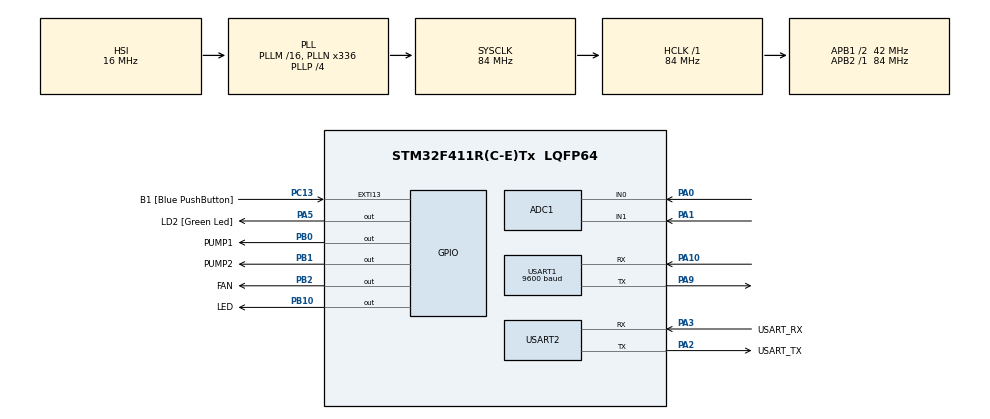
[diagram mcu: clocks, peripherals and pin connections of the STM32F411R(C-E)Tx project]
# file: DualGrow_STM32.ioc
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ADC1.Channel-0\#ChannelRegularConversion=ADC_CHANNEL_0
ADC1.NbrOfConversionFlag=1
ADC1.Rank-0\#ChannelRegularConversion=1
ADC1.SamplingTime-0\#ChannelRegularConversion=ADC_SAMPLETIME_84CYCLES
ADC1.master=1
Mcu.Family=STM32F4
Mcu.Name=STM32F411R(C-E)Tx
Mcu.Package=LQFP64
NVIC.PriorityGroup=NVIC_PRIORITYGROUP_0
NVIC.USART1_IRQn=true\:0\:0\:false\:false\:true\:true\:true\:true
PA0-WKUP.Signal=ADCx_IN0
PA1.Signal=ADCx_IN1
PA10.Mode=Asynchronous
PA10.Signal=USART1_RX
PA13.GPIO_Label=TMS
PA13.Mode=Serial_Wire
PA13.Signal=SYS_JTMS-SWDIO
PA14.GPIO_Label=TCK
PA14.Mode=Serial_Wire
PA14.Signal=SYS_JTCK-SWCLK
PA2.GPIO_Label=USART_TX
PA2.Mode=Asynchronous
PA2.Signal=USART2_TX
PA3.GPIO_Label=USART_RX
PA3.Mode=Asynchronous
PA3.Signal=USART2_RX
PA5.GPIO_Label=LD2 [Green Led]
PA5.Signal=GPIO_Output
PA9.Mode=Asynchronous
PA9.Signal=USART1_TX
PB0.GPIO_Label=PUMP1
PB0.PinState=GPIO_PIN_SET
PB0.Signal=GPIO_Output
PB1.GPIO_Label=PUMP2
PB1.GPIO_ModeDefaultOutputPP=GPIO_MODE_OUTPUT_PP
PB1.GPIO_PuPd=GPIO_NOPULL
PB1.PinState=GPIO_PIN_SET
PB1.Signal=GPIO_Output
PB10.GPIO_Label=LED
PB10.Signal=GPIO_Output
PB2.GPIO_Label=FAN
PB2.PinState=GPIO_PIN_SET
PB2.Signal=GPIO_Output
PB3.GPIO_Label=SWO
PB3.Signal=SYS_JTDO-SWO
PC13-ANTI_TAMP.GPIO_Label=B1 [Blue PushButton]
PC13-ANTI_TAMP.GPIO_ModeDefaultEXTI=GPIO_MODE_IT_FALLING
PC13-ANTI_TAMP.Signal=GPXTI13
PC14-OSC32_IN.Mode=LSE-External-Oscillator
PC14-OSC32_IN.Signal=RCC_OSC32_IN
PC15-OSC32_OUT.Mode=LSE-External-Oscillator
PC15-OSC32_OUT.Signal=RCC_OSC32_OUT
PH0\ -\ OSC_IN.Mode=HSE-External-Clock-Source
PH0\ -\ OSC_IN.Signal=RCC_OSC_IN
PH1\ -\ OSC_OUT.Mode=HSE-External-Clock-Source
PH1\ -\ OSC_OUT.Signal=RCC_OSC_OUT
ProjectManager.HeapSize=0x200
ProjectManager.StackSize=0x400
ProjectManager.TargetToolchain=STM32CubeIDE
RCC.48MHZClocksFreq_Value=84000000
RCC.AHBFreq_Value=84000000
RCC.APB1CLKDivider=RCC_HCLK_DIV2
RCC.APB1Freq_Value=42000000
RCC.APB1TimFreq_Value=84000000
RCC.APB2Freq_Value=84000000
RCC.APB2TimFreq_Value=84000000
RCC.CortexFreq_Value=84000000
RCC.FLatency-AdvancedSettings=FLASH_LATENCY_2
RCC.HCLKFreq_Value=84000000
RCC.HSE_VALUE=8000000
RCC.HSI_VALUE=16000000
RCC.PLLN=336
RCC.PLLP=RCC_PLLP_DIV4
RCC.SYSCLKFreq_VALUE=84000000
RCC.SYSCLKSource=RCC_SYSCLKSOURCE_PLLCLK
RCC.VCOOutputFreq_Value=336000000
SH.ADCx_IN0.0=ADC1_IN0,IN0
SH.ADCx_IN1.0=ADC1_IN1,IN1
USART1.BaudRate=9600
USART1.VirtualMode=VM_ASYNC
USART2.VirtualMode=VM_ASYNC
board=NUCLEO-F411RE

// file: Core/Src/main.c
/* USER CODE BEGIN Header */
/**
  ******************************************************************************
  * @file           : main.c
  * @brief          : Main program body
  ******************************************************************************
  * @attention
  *
  * Copyright (c) 2026 STMicroelectronics.
  * All rights reserved.
  *
  * This software is licensed under terms that can be found in the LICENSE file
  * in the root directory of this software component.
  * If no LICENSE file comes with this software, it is provided AS-IS.
  *
  ******************************************************************************
  */
/* USER CODE END Header */
#include "main.h"

/* USER CODE BEGIN Includes */
#include <stdio.h>
#include "pump1.h"
#include "pump2.h"
#include "fan.h"
#include "led.h"
#include "soil.h"
#include "waterlevel.h"
/* USER CODE END Includes */

ADC_HandleTypeDef hadc1;

UART_HandleTypeDef huart1;
UART_HandleTypeDef huart2;

/* USER CODE BEGIN PV */
uint8_t rx_byte = 0U;  //받을 글자 1개를 담는 곳
volatile uint8_t rx_flag = 0U;  //새 글자가 왔다는 표시
/* USER CODE END PV */

void SystemClock_Config(void);
static void MX_GPIO_Init(void);
static void MX_USART2_UART_Init(void);
static void MX_ADC1_Init(void);
static void MX_USART1_UART_Init(void);

/* USER CODE BEGIN 0 */
int _write(int file, char *str, int len)
{
	(void)file;
	HAL_UART_Transmit(&huart2, (uint8_t *)str, (uint16_t)len, HAL_MAX_DELAY);
	return len;
}
/* USER CODE END 0 */

int main(void)
{

  /* MCU Configuration--------------------------------------------------------*/

  /* Reset of all peripherals, Initializes the Flash interface and the Systick. */
  HAL_Init();

  /* Configure the system clock */
  SystemClock_Config();

  /* Initialize all configured peripherals */
  MX_GPIO_Init();
  MX_USART2_UART_Init();
  MX_ADC1_Init();
  MX_USART1_UART_Init();
  /* USER CODE BEGIN 2 */
  uint8_t step = 0U;
  uint32_t last_step_tick = HAL_GetTick();
  uint32_t last_print_tick = HAL_GetTick();
//  uint32_t last_tick = HAL_GetTick();

  pump1_off();
  pump2_off();
  fan_off();
  led_off();
  printf("DualGrow start\r\n");
  HAL_UART_Transmit_IT(&huart1, &rx_byte, 1U);  //첫 글자 받을 준비

  /* USER CODE END 2 */

  /* Infinite loop */
  while (1)
  {

    /* USER CODE BEGIN 3 */
//	  //pump test code
//	  if(HAL_GetTick() - last_tick >= 1000) {
//		  last_tick = HAL_GetTick();
//
//		  if(step == 0) {
//			  pump1_on();
//		  }
//		  else if(step == 1) {
//			  pump1_off();
//		  }
//		  else if(step == 2) {
//			   pump2_on();
//		  }
//		  else if(step == 3) {
//			  pump2_off();
//		  }
//
//		  step++;
//		  if(step >= 4) {
//			  step = 0;
//		  }
//	  }
//	  //fan test code
//	  if(HAL_GetTick() - last_tick >= 3000) {
//		  last_tick = HAL_GetTick();
//
//		  if(step == 0) {
//			  fan_on();
//		  }
//		  else if(step == 1) {
//			  fan_off();
//		  }
//
//		  step++;
//
//		  if(step >= 2) {
//			  step = 0;
//		  }
//	  }

//	  //led test
//	  if(HAL_GetTick() - last_tick >= 3000) {
//		  last_tick = HAL_GetTick();
//
//		  if(step == 0) {
//			  led_on();
//		  }
//		  else if (step == 1) {
//			  led_off();
//		  }
//		  step++;
//
//		  if(step > 2) {
//			  step = 0;
//		  }
//	  }

//	  //UART test
//	  if(HAL_GetTick() - last_tick >= 3000) {
//		  last_tick = HAL_GetTick();
//
//		  if(step == 0) {
//			  led_on();
//			  printf("led on\r\n");
//		  }
//		  else if (step == 1) {
//			  led_off();
//			  printf("led off\r\n");
//		  }
//		  step++;
//
//		  if(step >= 2) {
//			  step = 0;
//		  }
//	  }

//	  //soil test
//	  if(HAL_GetTick() - last_tick >= 1000) {
//		  last_tick = HAL_GetTick();
//
//		  printf("soil raw = %u\r\n", soil_read_raw());
//	  }

//	  //waterlevel test
//	  if(HAL_GetTick() - last_tick >= 1000) {
//		  last_tick = HAL_GetTick();
//
//		  printf("soil = %u, water = %u\r\n", soil_read_raw(), waterlevel_read_raw());
//	  }

//	  //complex test
//	  uint32_t now = HAL_GetTick();
//
//	  if((now - last_step_tick) >= 2000U) {
//		  last_step_tick = now;
//
//		  switch(step) {
//		  case 0U: pump1_on(); printf("pump1 ON\r\n"); break;
//		  case 1U: pump1_off(); printf("pump1 OFF\r\n"); break;
//		  case 2U: pump2_on(); printf("pump2 ON\r\n"); break;
//		  case 3U: pump2_off(); printf("pump2 OFF\r\n"); break;
//		  case 4U: fan_on(); printf("fan ON\r\n"); break;
//		  case 5U: fan_off(); printf("fan OFF\r\n"); break;
//		  case 6U: led_on(); printf("led ON\r\n"); break;
//		  case 7U: led_off(); printf("led OFF\r\n"); break;
//		  default: break;
//		  }
//
//		  step++;
//		  if(step >= 8U) {
//			  step = 0U;
//		  }
//	  }
//
//	  if((now - last_print_tick) >= 1000U) {
//		  last_print_tick = now;
//		  printf("soil = %u, water = %u\r\n", soil_read_raw(), waterlevel_read_raw());
//	  }

//	  //stm32 -> rpi uart test
//	  static uint32_t last_uart_tick = 0U;
//	  uint32_t now = HAL_GetTick();
//
//	  if((now - last_uart_tick) >= 1000U) {
//		  last_uart_tick = now;
//		  const uint8_t msg[] = "hello from STM32\r\n";
//		  HAL_UART_Transmit(&huart1, msg, (uint16_t)(sizeof(msg) - 1U), 100U);
//	  }

	  //rpi -> stm32 test
	  if(rx_flag != 0U) {
		  rx_flag = 0U;
		  printf("%rx : %c (ox%02x)\r\n", rx_byte, rx_byte);

		  if(rx_byte == (uint8_t)'1') {
			  led_on();
		  }
		  else if (rx_byte == (uint8_t) '0') {
			  led_off();
		  }
		  else {
			  //그외에는 무시
		  }
	  }
  }
  /* USER CODE END 3 */
}

void SystemClock_Config(void)
{
  RCC_OscInitTypeDef RCC_OscInitStruct = {0};
  RCC_ClkInitTypeDef RCC_ClkInitStruct = {0};

  /** Configure the main internal regulator output voltage
  */
  __HAL_RCC_PWR_CLK_ENABLE();
  __HAL_PWR_VOLTAGESCALING_CONFIG(PWR_REGULATOR_VOLTAGE_SCALE1);

  /** Initializes the RCC Oscillators according to the specified parameters
  * in the RCC_OscInitTypeDef structure.
  */
  RCC_OscInitStruct.OscillatorType = RCC_OSCILLATORTYPE_HSI;
  RCC_OscInitStruct.HSIState = RCC_HSI_ON;
  RCC_OscInitStruct.HSICalibrationValue = RCC_HSICALIBRATION_DEFAULT;
  RCC_OscInitStruct.PLL.PLLState = RCC_PLL_ON;
  RCC_OscInitStruct.PLL.PLLSource = RCC_PLLSOURCE_HSI;
  RCC_OscInitStruct.PLL.PLLM = 16;
  RCC_OscInitStruct.PLL.PLLN = 336;
  RCC_OscInitStruct.PLL.PLLP = RCC_PLLP_DIV4;
  RCC_OscInitStruct.PLL.PLLQ = 4;
  if (HAL_RCC_OscConfig(&RCC_OscInitStruct) != HAL_OK)
  {
    Error_Handler();
  }

  /** Initializes the CPU, AHB and APB buses clocks
  */
  RCC_ClkInitStruct.ClockType = RCC_CLOCKTYPE_HCLK|RCC_CLOCKTYPE_SYSCLK
                              |RCC_CLOCKTYPE_PCLK1|RCC_CLOCKTYPE_PCLK2;
  RCC_ClkInitStruct.SYSCLKSource = RCC_SYSCLKSOURCE_PLLCLK;
  RCC_ClkInitStruct.AHBCLKDivider = RCC_SYSCLK_DIV1;
  RCC_ClkInitStruct.APB1CLKDivider = RCC_HCLK_DIV2;
  RCC_ClkInitStruct.APB2CLKDivider = RCC_HCLK_DIV1;

  if (HAL_RCC_ClockConfig(&RCC_ClkInitStruct, FLASH_LATENCY_2) != HAL_OK)
  {
    Error_Handler();
  }
}

static void MX_ADC1_Init(void)
{

  ADC_ChannelConfTypeDef sConfig = {0};

  /** Configure the global features of the ADC (Clock, Resolution, Data Alignment and number of conversion)
  */
  hadc1.Instance = ADC1;
  hadc1.Init.ClockPrescaler = ADC_CLOCK_SYNC_PCLK_DIV4;
  hadc1.Init.Resolution = ADC_RESOLUTION_12B;
  hadc1.Init.ScanConvMode = DISABLE;
  hadc1.Init.ContinuousConvMode = DISABLE;
  hadc1.Init.DiscontinuousConvMode = DISABLE;
  hadc1.Init.ExternalTrigConvEdge = ADC_EXTERNALTRIGCONVEDGE_NONE;
  hadc1.Init.ExternalTrigConv = ADC_SOFTWARE_START;
  hadc1.Init.DataAlign = ADC_DATAALIGN_RIGHT;
  hadc1.Init.NbrOfConversion = 1;
  hadc1.Init.DMAContinuousRequests = DISABLE;
  hadc1.Init.EOCSelection = ADC_EOC_SINGLE_CONV;
  if (HAL_ADC_Init(&hadc1) != HAL_OK)
  {
    Error_Handler();
  }

  /** Configure for the selected ADC regular channel its corresponding rank in the sequencer and its sample time.
  */
  sConfig.Channel = ADC_CHANNEL_0;
  sConfig.Rank = 1;
  sConfig.SamplingTime = ADC_SAMPLETIME_84CYCLES;
  if (HAL_ADC_ConfigChannel(&hadc1, &sConfig) != HAL_OK)
  {
    Error_Handler();
  }

}

static void MX_USART1_UART_Init(void)
{

  huart1.Instance = USART1;
  huart1.Init.BaudRate = 9600;
  huart1.Init.WordLength = UART_WORDLENGTH_8B;
  huart1.Init.StopBits = UART_STOPBITS_1;
  huart1.Init.Parity = UART_PARITY_NONE;
  huart1.Init.Mode = UART_MODE_TX_RX;
  huart1.Init.HwFlowCtl = UART_HWCONTROL_NONE;
  huart1.Init.OverSampling = UART_OVERSAMPLING_16;
  if (HAL_UART_Init(&huart1) != HAL_OK)
  {
    Error_Handler();
  }

}

static void MX_USART2_UART_Init(void)
{

  huart2.Instance = USART2;
  huart2.Init.BaudRate = 115200;
  huart2.Init.WordLength = UART_WORDLENGTH_8B;
  huart2.Init.StopBits = UART_STOPBITS_1;
  huart2.Init.Parity = UART_PARITY_NONE;
  huart2.Init.Mode = UART_MODE_TX_RX;
  huart2.Init.HwFlowCtl = UART_HWCONTROL_NONE;
  huart2.Init.OverSampling = UART_OVERSAMPLING_16;
  if (HAL_UART_Init(&huart2) != HAL_OK)
  {
    Error_Handler();
  }

}

static void MX_GPIO_Init(void)
{
  GPIO_InitTypeDef GPIO_InitStruct = {0};

  /* GPIO Ports Clock Enable */
  __HAL_RCC_GPIOC_CLK_ENABLE();
  __HAL_RCC_GPIOH_CLK_ENABLE();
  __HAL_RCC_GPIOA_CLK_ENABLE();
  __HAL_RCC_GPIOB_CLK_ENABLE();

  /*Configure GPIO pin Output Level */
  HAL_GPIO_WritePin(LD2_GPIO_Port, LD2_Pin, GPIO_PIN_RESET);

  /*Configure GPIO pin Output Level */
  HAL_GPIO_WritePin(GPIOB, PUMP1_Pin|PUMP2_Pin|FAN_Pin, GPIO_PIN_SET);

  /*Configure GPIO pin Output Level */
  HAL_GPIO_WritePin(LED_GPIO_Port, LED_Pin, GPIO_PIN_RESET);

  /*Configure GPIO pin : B1_Pin */
  GPIO_InitStruct.Pin = B1_Pin;
  GPIO_InitStruct.Mode = GPIO_MODE_IT_FALLING;
  GPIO_InitStruct.Pull = GPIO_NOPULL;
  HAL_GPIO_Init(B1_GPIO_Port, &GPIO_InitStruct);

  /*Configure GPIO pin : LD2_Pin */
  GPIO_InitStruct.Pin = LD2_Pin;
  GPIO_InitStruct.Mode = GPIO_MODE_OUTPUT_PP;
  GPIO_InitStruct.Pull = GPIO_NOPULL;
  GPIO_InitStruct.Speed = GPIO_SPEED_FREQ_LOW;
  HAL_GPIO_Init(LD2_GPIO_Port, &GPIO_InitStruct);

  /*Configure GPIO pins : PUMP1_Pin PUMP2_Pin FAN_Pin LED_Pin */
  GPIO_InitStruct.Pin = PUMP1_Pin|PUMP2_Pin|FAN_Pin|LED_Pin;
  GPIO_InitStruct.Mode = GPIO_MODE_OUTPUT_PP;
  GPIO_InitStruct.Pull = GPIO_NOPULL;
  GPIO_InitStruct.Speed = GPIO_SPEED_FREQ_LOW;
  HAL_GPIO_Init(GPIOB, &GPIO_InitStruct);

}

/* USER CODE BEGIN 4 */
void HAL_UART_RxCpltCallback(UART_HandleTypeDef *huart)
{
	if(huart -> Instance == USART1) {
		rx_flag = 1U;
		HAL_UART_Receive_IT(&huart1, &rx_byte, 1U);  //다음 글자 받을 준비
	}
}
/* USER CODE END 4 */

void Error_Handler(void)
{
  __disable_irq();
  while (1)
  {
  }
}
